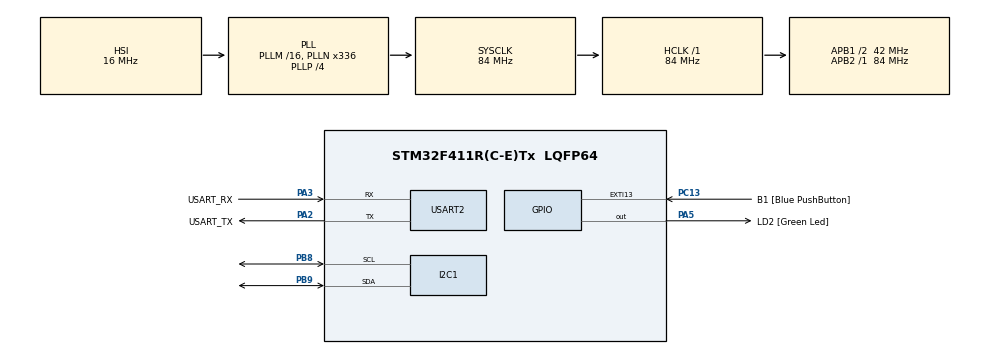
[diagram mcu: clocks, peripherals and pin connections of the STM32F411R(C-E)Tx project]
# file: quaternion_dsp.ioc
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Mcu.Family=STM32F4
Mcu.Name=STM32F411R(C-E)Tx
Mcu.Package=LQFP64
NVIC.PriorityGroup=NVIC_PRIORITYGROUP_0
PA13.GPIO_Label=TMS
PA13.Signal=SYS_JTMS-SWDIO
PA14.GPIO_Label=TCK
PA14.Signal=SYS_JTCK-SWCLK
PA2.GPIO_Label=USART_TX
PA2.Mode=Asynchronous
PA2.Signal=USART2_TX
PA3.GPIO_Label=USART_RX
PA3.Mode=Asynchronous
PA3.Signal=USART2_RX
PA5.GPIO_Label=LD2 [Green Led]
PA5.Signal=GPIO_Output
PB3.GPIO_Label=SWO
PB3.Signal=SYS_JTDO-SWO
PB8.Mode=I2C
PB8.Signal=I2C1_SCL
PB9.Mode=I2C
PB9.Signal=I2C1_SDA
PC13-ANTI_TAMP.GPIO_Label=B1 [Blue PushButton]
PC13-ANTI_TAMP.GPIO_ModeDefaultEXTI=GPIO_MODE_IT_FALLING
PC13-ANTI_TAMP.Signal=GPXTI13
PC14-OSC32_IN.Signal=RCC_OSC32_IN
PC15-OSC32_OUT.Signal=RCC_OSC32_OUT
PH0\ -\ OSC_IN.Signal=RCC_OSC_IN
PH1\ -\ OSC_OUT.Signal=RCC_OSC_OUT
ProjectManager.HeapSize=0x200
ProjectManager.StackSize=0x400
ProjectManager.TargetToolchain=Makefile
RCC.48MHZClocksFreq_Value=84000000
RCC.AHBFreq_Value=84000000
RCC.APB1CLKDivider=RCC_HCLK_DIV2
RCC.APB1Freq_Value=42000000
RCC.APB1TimFreq_Value=84000000
RCC.APB2Freq_Value=84000000
RCC.APB2TimFreq_Value=84000000
RCC.CortexFreq_Value=84000000
RCC.FLatency-AdvancedSettings=FLASH_LATENCY_2
RCC.HCLKFreq_Value=84000000
RCC.HSE_VALUE=8000000
RCC.HSI_VALUE=16000000
RCC.LSE_VALUE=32768
RCC.PLLN=336
RCC.PLLP=RCC_PLLP_DIV4
RCC.SYSCLKFreq_VALUE=84000000
RCC.SYSCLKSource=RCC_SYSCLKSOURCE_PLLCLK
RCC.VCOOutputFreq_Value=336000000
USART2.VirtualMode=VM_ASYNC
board=NUCLEO-F411RE

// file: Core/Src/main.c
/* USER CODE BEGIN Header */
/**
  ******************************************************************************
  * @file           : main.c
  * @brief          : Main program body
  ******************************************************************************
  * @attention
  *
  * Copyright (c) 2025 STMicroelectronics.
  * All rights reserved.
  *
  * This software is licensed under terms that can be found in the LICENSE file
  * in the root directory of this software component.
  * If no LICENSE file comes with this software, it is provided AS-IS.
  *
  ******************************************************************************
  */
/* USER CODE END Header */
#include "main.h"

/* USER CODE BEGIN Includes */
#include"mpu6050_driver.h"
#include"quaternion.h"

/* USER CODE END Includes */

I2C_HandleTypeDef hi2c1;

UART_HandleTypeDef huart2;

void SystemClock_Config(void);
static void MX_GPIO_Init(void);
static void MX_I2C1_Init(void);
static void MX_USART2_UART_Init(void);

/* USER CODE BEGIN 0 */
extern AccelMeas accel_data;
extern GyroMeas gyro_data;
Quaternion_t attitude_q;
EulerAngle_t Euler_xyz;

const float32_t R_TO_DEGREE = (180 / PI);
uint32_t timermpuCount = 0;
const uint8_t IMU_PERIOD = 1;
const float32_t dt = 0.005 ;
/* USER CODE END 0 */

int main(void)
{

  /* MCU Configuration--------------------------------------------------------*/

  /* Reset of all peripherals, Initializes the Flash interface and the Systick. */
  HAL_Init();

  /* Configure the system clock */
  SystemClock_Config();

  /* USER CODE BEGIN SysInit */
    // I2C reset
    __HAL_RCC_I2C1_FORCE_RESET();
    HAL_Delay(1);
    __HAL_RCC_I2C1_RELEASE_RESET();
    HAL_Delay(5);
  /* USER CODE END SysInit */

  /* Initialize all configured peripherals */
  MX_GPIO_Init();
  i2c_reset();
  MX_I2C1_Init();
  MX_USART2_UART_Init();
  /* USER CODE BEGIN 2 */
  HAL_StatusTypeDef stat;
  stat = HAL_I2C_IsDeviceReady(&hi2c1, MPU6050_SLAVE_ADDRESS, 1 , 100);
  if(stat == HAL_OK)
  {
	  printf("device is ready \r\n");
  }else
  {
	  printf("device is not ready");
  }

  uint32_t len=0;
  char buffer[250];
  Euler_xyz.Roll=0.0; Euler_xyz.Pitch=0.0;Euler_xyz.Yaw=0.0;
  float32_t gyroPrev[3];
  mpu6050_init();
  attitude_q = quaternion_identity();
  Euler_xyz.Roll=0.0f; Euler_xyz.Pitch=0.0f;Euler_xyz.Yaw=0.0f;
  /* USER CODE END 2 */

  /* Infinite loop */
  while (1)
  {

    /* USER CODE BEGIN 3 */
    if(HAL_GetTick() - timermpuCount >= IMU_PERIOD)
    {
      HAL_GPIO_WritePin(GPIOA, LD2_Pin, GPIO_PIN_SET);
      mpu6050_data();
      gyroPrev[0]= gyro_data.Gyro_X;
      gyroPrev[1]= gyro_data.Gyro_Y;
      gyroPrev[2]= gyro_data.Gyro_Z;
      LPF_Apply(&gyro_data, gyroPrev);
      attitude_q = quaternion_update(attitude_q, gyro_data.Gyro_X , gyro_data.Gyro_Y , gyro_data.Gyro_Z , dt );
      quaternion_to_euler(attitude_q, &Euler_xyz);
      HAL_GPIO_WritePin(GPIOA, LD2_Pin, GPIO_PIN_RESET);

      len = snprintf(buffer, sizeof(buffer), "%.2f,%.2f,%.2f\r\n",
                     Euler_xyz.Roll, Euler_xyz.Pitch, Euler_xyz.Yaw);

      HAL_UART_Transmit(&huart2, (uint8_t*)buffer, len, HAL_MAX_DELAY);
      timermpuCount = HAL_GetTick();
    }
  }
  /* USER CODE END 3 */
}

void SystemClock_Config(void)
{
  RCC_OscInitTypeDef RCC_OscInitStruct = {0};
  RCC_ClkInitTypeDef RCC_ClkInitStruct = {0};

  /** Configure the main internal regulator output voltage
  */
  __HAL_RCC_PWR_CLK_ENABLE();
  __HAL_PWR_VOLTAGESCALING_CONFIG(PWR_REGULATOR_VOLTAGE_SCALE1);

  /** Initializes the RCC Oscillators according to the specified parameters
  * in the RCC_OscInitTypeDef structure.
  */
  RCC_OscInitStruct.OscillatorType = RCC_OSCILLATORTYPE_HSI;
  RCC_OscInitStruct.HSIState = RCC_HSI_ON;
  RCC_OscInitStruct.HSICalibrationValue = RCC_HSICALIBRATION_DEFAULT;
  RCC_OscInitStruct.PLL.PLLState = RCC_PLL_ON;
  RCC_OscInitStruct.PLL.PLLSource = RCC_PLLSOURCE_HSI;
  RCC_OscInitStruct.PLL.PLLM = 16;
  RCC_OscInitStruct.PLL.PLLN = 336;
  RCC_OscInitStruct.PLL.PLLP = RCC_PLLP_DIV4;
  RCC_OscInitStruct.PLL.PLLQ = 4;
  if (HAL_RCC_OscConfig(&RCC_OscInitStruct) != HAL_OK)
  {
    Error_Handler();
  }

  /** Initializes the CPU, AHB and APB buses clocks
  */
  RCC_ClkInitStruct.ClockType = RCC_CLOCKTYPE_HCLK|RCC_CLOCKTYPE_SYSCLK
                              |RCC_CLOCKTYPE_PCLK1|RCC_CLOCKTYPE_PCLK2;
  RCC_ClkInitStruct.SYSCLKSource = RCC_SYSCLKSOURCE_PLLCLK;
  RCC_ClkInitStruct.AHBCLKDivider = RCC_SYSCLK_DIV1;
  RCC_ClkInitStruct.APB1CLKDivider = RCC_HCLK_DIV2;
  RCC_ClkInitStruct.APB2CLKDivider = RCC_HCLK_DIV1;

  if (HAL_RCC_ClockConfig(&RCC_ClkInitStruct, FLASH_LATENCY_2) != HAL_OK)
  {
    Error_Handler();
  }
}

static void MX_I2C1_Init(void)
{

  hi2c1.Instance = I2C1;
  hi2c1.Init.ClockSpeed = 100000;
  hi2c1.Init.DutyCycle = I2C_DUTYCYCLE_2;
  hi2c1.Init.OwnAddress1 = 0;
  hi2c1.Init.AddressingMode = I2C_ADDRESSINGMODE_7BIT;
  hi2c1.Init.DualAddressMode = I2C_DUALADDRESS_DISABLE;
  hi2c1.Init.OwnAddress2 = 0;
  hi2c1.Init.GeneralCallMode = I2C_GENERALCALL_DISABLE;
  hi2c1.Init.NoStretchMode = I2C_NOSTRETCH_DISABLE;
  if (HAL_I2C_Init(&hi2c1) != HAL_OK)
  {
    Error_Handler();
  }

}

static void MX_USART2_UART_Init(void)
{

  huart2.Instance = USART2;
  huart2.Init.BaudRate = 115200;
  huart2.Init.WordLength = UART_WORDLENGTH_8B;
  huart2.Init.StopBits = UART_STOPBITS_1;
  huart2.Init.Parity = UART_PARITY_NONE;
  huart2.Init.Mode = UART_MODE_TX_RX;
  huart2.Init.HwFlowCtl = UART_HWCONTROL_NONE;
  huart2.Init.OverSampling = UART_OVERSAMPLING_16;
  if (HAL_UART_Init(&huart2) != HAL_OK)
  {
    Error_Handler();
  }

}

static void MX_GPIO_Init(void)
{
  GPIO_InitTypeDef GPIO_InitStruct = {0};

  /* GPIO Ports Clock Enable */
  __HAL_RCC_GPIOC_CLK_ENABLE();
  __HAL_RCC_GPIOH_CLK_ENABLE();
  __HAL_RCC_GPIOA_CLK_ENABLE();
  __HAL_RCC_GPIOB_CLK_ENABLE();

  /*Configure GPIO pin Output Level */
  HAL_GPIO_WritePin(LD2_GPIO_Port, LD2_Pin, GPIO_PIN_RESET);

  /*Configure GPIO pin : B1_Pin */
  GPIO_InitStruct.Pin = B1_Pin;
  GPIO_InitStruct.Mode = GPIO_MODE_IT_FALLING;
  GPIO_InitStruct.Pull = GPIO_NOPULL;
  HAL_GPIO_Init(B1_GPIO_Port, &GPIO_InitStruct);

  /*Configure GPIO pin : LD2_Pin */
  GPIO_InitStruct.Pin = LD2_Pin;
  GPIO_InitStruct.Mode = GPIO_MODE_OUTPUT_PP;
  GPIO_InitStruct.Pull = GPIO_NOPULL;
  GPIO_InitStruct.Speed = GPIO_SPEED_FREQ_LOW;
  HAL_GPIO_Init(LD2_GPIO_Port, &GPIO_InitStruct);

}

void Error_Handler(void)
{
  __disable_irq();
  while (1)
  {
  }
}
